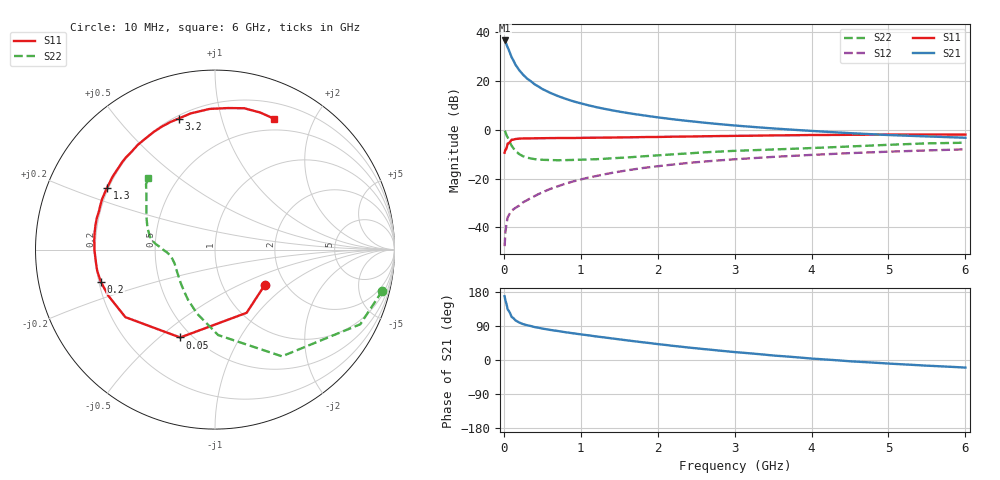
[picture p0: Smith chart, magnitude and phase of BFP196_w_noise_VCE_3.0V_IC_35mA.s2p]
! Infineon Technologies  Discrete & RF Semiconductors
! BFP196
! VCE =  3.0 V,  IC =  35 mA
! Common Emitter S-Parameters:  Jan 2017
# GHz  S  MA  R  50
!  f  S11  S21  S12  S22
! GHz  MAG  ANG  MAG  ANG  MAG  ANG  MAG  ANG
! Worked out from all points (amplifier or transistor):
!   77 points, 10 MHz to 6 GHz, reference 50 ohm
!   highest |S21| = 36.7 dB at 10 MHz (marker M1)
!   |S21| within 3 dB of that: start of sweep to 51.9 MHz
!   unconditionally stable (mu >= 1): 611.7 MHz to 2.488 GHz
!   at 130 MHz: K = 0.54, MSG = 30.3 dB, |S12| = -32.5 dB
!   at 2.2 GHz: K = 1.01, MAG = 8.6 dB, |S12| = -14.2 dB
!   at 6 GHz: K = 0.95, MSG = 2.4 dB, |S12| = -8.0 dB
!   lowest NFmin = 1.28 dB at 450 MHz
!   S11 on the Smith chart (normalised r, x): 10 MHz: 1.58, -0.70; 50 MHz: 0.43, -0.59; 200 MHz: 0.21, -0.13; 1.3 GHz: 0.19, +0.26; 3.2 GHz: 0.22, +0.74; 6 GHz: 0.37, +1.48
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0.01  0.3402 -35.0  68.43 168.3  0.0041 82.9  0.9602 -13.8
0.02  0.3937 -63.4  65.81 157.6  0.0078 72.7  0.9102 -27.2
0.05  0.5267 -111.6  49.22 133.5  0.016 55.7  0.702 -57.9
0.1  0.6254 -143.0  31.1 114.0  0.0218 51.0  0.4768 -87.8
0.15  0.6478 -156.7  21.91 104.7  0.025 50.2  0.3706 -105.6
0.2  0.6609 -164.3  16.8 98.9  0.0279 52.1  0.318 -118.1
0.25  0.667 -169.8  13.57 94.7  0.0326 54.5  0.2874 -127.1
0.3  0.6672 -173.7  11.37 91.8  0.0359 57.1  0.2697 -134.4
0.4  0.6716 -179.7  8.616 86.9  0.0437 60.0  0.2511 -144.4
0.5  0.6748 175.6  6.907 83.0  0.0523 62.0  0.2432 -151.5
0.6  0.6775 171.7  5.785 79.5  0.061 62.7  0.2403 -156.7
0.7  0.6797 168.4  4.962 76.6  0.0692 63.9  0.2381 -160.7
0.9  0.6808 161.8  3.869 70.5  0.0873 63.1  0.2414 -166.0
1.1  0.689 156.0  3.192 65.1  0.1048 61.9  0.247 -170.2
1.3  0.6934 150.1  2.717 59.7  0.1216 60.0  0.2547 -173.3
1.6  0.7024 142.0  2.231 51.9  0.1473 56.8  0.2713 -177.3
2.1  0.7195 128.8  1.727 39.8  0.1867 50.4  0.3071 177.4
3.1  0.755 107.3  1.195 19.3  0.2547 37.2  0.3758 167.0
3.2  0.7578 105.5  1.162 17.6  0.2605 36.0  0.3805 165.7
4.1  0.7848 90.7  0.932 2.5  0.3116 25.1  0.4296 152.9
5.1  0.8033 77.0  0.773 -10.5  0.3608 13.5  0.5002 139.9
6  0.7998 65.9  0.689 -20.0  0.399 3.6  0.5451 132.9
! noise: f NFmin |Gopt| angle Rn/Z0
0.45  1.28  0.35  173  0.05
0.9  1.44  0.45  -169  0.07
1.9  2.27  0.68  -134  0.27
2.4  2.68  0.71  -121  0.61
